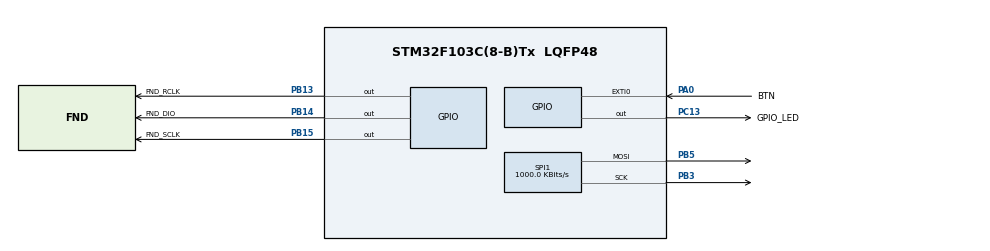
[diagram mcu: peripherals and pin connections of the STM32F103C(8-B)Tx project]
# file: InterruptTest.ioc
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Mcu.Family=STM32F1
Mcu.Name=STM32F103C(8-B)Tx
Mcu.Package=LQFP48
NVIC.EXTI0_IRQn=true\:0\:0\:false\:false\:true\:true\:true\:true
NVIC.PriorityGroup=NVIC_PRIORITYGROUP_4
PA0-WKUP.GPIO_Label=BTN
PA0-WKUP.GPIO_ModeDefaultEXTI=GPIO_MODE_IT_RISING_FALLING
PA0-WKUP.GPIO_PuPd=GPIO_PULLUP
PA0-WKUP.Signal=GPXTI0
PA13.Mode=Serial_Wire
PA13.Signal=SYS_JTMS-SWDIO
PA14.Mode=Serial_Wire
PA14.Signal=SYS_JTCK-SWCLK
PB13.GPIO_Label=FND_RCLK
PB13.GPIO_ModeDefaultOutputPP=GPIO_MODE_OUTPUT_PP
PB13.GPIO_PuPd=GPIO_PULLUP
PB13.GPIO_Speed=GPIO_SPEED_FREQ_HIGH
PB13.PinState=GPIO_PIN_SET
PB13.Signal=GPIO_Output
PB14.GPIO_Label=FND_DIO
PB14.GPIO_ModeDefaultOutputPP=GPIO_MODE_OUTPUT_PP
PB14.GPIO_PuPd=GPIO_NOPULL
PB14.GPIO_Speed=GPIO_SPEED_FREQ_HIGH
PB14.PinState=GPIO_PIN_SET
PB14.Signal=GPIO_Output
PB15.GPIO_Label=FND_SCLK
PB15.GPIO_PuPd=GPIO_PULLUP
PB15.GPIO_Speed=GPIO_SPEED_FREQ_HIGH
PB15.PinState=GPIO_PIN_SET
PB15.Signal=GPIO_Output
PB3.Mode=TX_Only_Simplex_Unidirect_Master
PB3.Signal=SPI1_SCK
PB5.Mode=TX_Only_Simplex_Unidirect_Master
PB5.Signal=SPI1_MOSI
PC13-TAMPER-RTC.GPIO_Label=GPIO_LED
PC13-TAMPER-RTC.GPIO_ModeDefaultOutputPP=GPIO_MODE_OUTPUT_PP
PC13-TAMPER-RTC.GPIO_PuPd=GPIO_PULLDOWN
PC13-TAMPER-RTC.GPIO_Speed=GPIO_SPEED_FREQ_LOW
PC13-TAMPER-RTC.PinState=GPIO_PIN_SET
PC13-TAMPER-RTC.Signal=GPIO_Output
ProjectManager.HeapSize=0x200
ProjectManager.StackSize=0x400
ProjectManager.TargetToolchain=STM32CubeIDE
RCC.APB1Freq_Value=8000000
RCC.APB2Freq_Value=8000000
SPI1.BaudRatePrescaler=SPI_BAUDRATEPRESCALER_8
SPI1.CLKPolarity=SPI_POLARITY_HIGH
SPI1.CalculateBaudRate=1000.0 KBits/s
SPI1.Direction=SPI_DIRECTION_2LINES
SPI1.Mode=SPI_MODE_MASTER
SPI1.VirtualType=VM_MASTER
board=custom

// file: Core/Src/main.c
/* USER CODE BEGIN Header */
/**
  ******************************************************************************
  * @file           : main.c
  * @brief          : Main program body
  ******************************************************************************
  * @attention
  *
  * Copyright (c) 2024 STMicroelectronics.
  * All rights reserved.
  *
  * This software is licensed under terms that can be found in the LICENSE file
  * in the root directory of this software component.
  * If no LICENSE file comes with this software, it is provided AS-IS.
  *
  ******************************************************************************
  */
/* USER CODE END Header */
#include "main.h"

/* USER CODE BEGIN PTD */
#define DEBOUNCE_DELAY 30
/* USER CODE END PTD */

SPI_HandleTypeDef hspi1;

void SystemClock_Config(void);
static void MX_GPIO_Init(void);
static void MX_SPI1_Init(void);

/* USER CODE BEGIN 0 */
void HAL_GPIO_EXTI_Callback(uint16_t GPIO_Pin);

volatile uint32_t lastInterruptTime = 0;
/* USER CODE END 0 */

int main(void)
{

  /* MCU Configuration--------------------------------------------------------*/

  /* Reset of all peripherals, Initializes the Flash interface and the Systick. */
  HAL_Init();

  /* Configure the system clock */
  SystemClock_Config();

  /* Initialize all configured peripherals */
  MX_GPIO_Init();
  MX_SPI1_Init();
  /* USER CODE BEGIN 2 */
  init_fnd(&hspi1);
  /* USER CODE END 2 */

  /* Infinite loop */
  /* USER CODE BEGIN WHILE */
  while (1)
  {
	  for(int i=0; i<=99; i++){
		  digit2(i, 0b0001, 50);
	  }
    /* USER CODE END WHILE */

  }
}

void SystemClock_Config(void)
{
  RCC_OscInitTypeDef RCC_OscInitStruct = {0};
  RCC_ClkInitTypeDef RCC_ClkInitStruct = {0};

  /** Initializes the RCC Oscillators according to the specified parameters
  * in the RCC_OscInitTypeDef structure.
  */
  RCC_OscInitStruct.OscillatorType = RCC_OSCILLATORTYPE_HSI;
  RCC_OscInitStruct.HSIState = RCC_HSI_ON;
  RCC_OscInitStruct.HSICalibrationValue = RCC_HSICALIBRATION_DEFAULT;
  RCC_OscInitStruct.PLL.PLLState = RCC_PLL_NONE;
  if (HAL_RCC_OscConfig(&RCC_OscInitStruct) != HAL_OK)
  {
    Error_Handler();
  }

  /** Initializes the CPU, AHB and APB buses clocks
  */
  RCC_ClkInitStruct.ClockType = RCC_CLOCKTYPE_HCLK|RCC_CLOCKTYPE_SYSCLK
                              |RCC_CLOCKTYPE_PCLK1|RCC_CLOCKTYPE_PCLK2;
  RCC_ClkInitStruct.SYSCLKSource = RCC_SYSCLKSOURCE_HSI;
  RCC_ClkInitStruct.AHBCLKDivider = RCC_SYSCLK_DIV1;
  RCC_ClkInitStruct.APB1CLKDivider = RCC_HCLK_DIV1;
  RCC_ClkInitStruct.APB2CLKDivider = RCC_HCLK_DIV1;

  if (HAL_RCC_ClockConfig(&RCC_ClkInitStruct, FLASH_LATENCY_0) != HAL_OK)
  {
    Error_Handler();
  }
}

static void MX_SPI1_Init(void)
{

  /* SPI1 parameter configuration*/
  hspi1.Instance = SPI1;
  hspi1.Init.Mode = SPI_MODE_MASTER;
  hspi1.Init.Direction = SPI_DIRECTION_2LINES;
  hspi1.Init.DataSize = SPI_DATASIZE_8BIT;
  hspi1.Init.CLKPolarity = SPI_POLARITY_HIGH;
  hspi1.Init.CLKPhase = SPI_PHASE_1EDGE;
  hspi1.Init.NSS = SPI_NSS_SOFT;
  hspi1.Init.BaudRatePrescaler = SPI_BAUDRATEPRESCALER_8;
  hspi1.Init.FirstBit = SPI_FIRSTBIT_MSB;
  hspi1.Init.TIMode = SPI_TIMODE_DISABLE;
  hspi1.Init.CRCCalculation = SPI_CRCCALCULATION_DISABLE;
  hspi1.Init.CRCPolynomial = 10;
  if (HAL_SPI_Init(&hspi1) != HAL_OK)
  {
    Error_Handler();
  }

}

static void MX_GPIO_Init(void)
{
  GPIO_InitTypeDef GPIO_InitStruct = {0};

  /* GPIO Ports Clock Enable */
  __HAL_RCC_GPIOC_CLK_ENABLE();
  __HAL_RCC_GPIOA_CLK_ENABLE();
  __HAL_RCC_GPIOB_CLK_ENABLE();

  /*Configure GPIO pin Output Level */
  HAL_GPIO_WritePin(GPIO_LED_GPIO_Port, GPIO_LED_Pin, GPIO_PIN_SET);

  /*Configure GPIO pin Output Level */
  HAL_GPIO_WritePin(GPIOB, FND_RCLK_Pin|FND_DIO_Pin|FND_SCLK_Pin, GPIO_PIN_SET);

  /*Configure GPIO pin : GPIO_LED_Pin */
  GPIO_InitStruct.Pin = GPIO_LED_Pin;
  GPIO_InitStruct.Mode = GPIO_MODE_OUTPUT_PP;
  GPIO_InitStruct.Pull = GPIO_PULLDOWN;
  GPIO_InitStruct.Speed = GPIO_SPEED_FREQ_LOW;
  HAL_GPIO_Init(GPIO_LED_GPIO_Port, &GPIO_InitStruct);

  /*Configure GPIO pin : BTN_Pin */
  GPIO_InitStruct.Pin = BTN_Pin;
  GPIO_InitStruct.Mode = GPIO_MODE_IT_RISING_FALLING;
  GPIO_InitStruct.Pull = GPIO_PULLUP;
  HAL_GPIO_Init(BTN_GPIO_Port, &GPIO_InitStruct);

  /*Configure GPIO pins : FND_RCLK_Pin FND_SCLK_Pin */
  GPIO_InitStruct.Pin = FND_RCLK_Pin|FND_SCLK_Pin;
  GPIO_InitStruct.Mode = GPIO_MODE_OUTPUT_PP;
  GPIO_InitStruct.Pull = GPIO_PULLUP;
  GPIO_InitStruct.Speed = GPIO_SPEED_FREQ_HIGH;
  HAL_GPIO_Init(GPIOB, &GPIO_InitStruct);

  /*Configure GPIO pin : FND_DIO_Pin */
  GPIO_InitStruct.Pin = FND_DIO_Pin;
  GPIO_InitStruct.Mode = GPIO_MODE_OUTPUT_PP;
  GPIO_InitStruct.Pull = GPIO_NOPULL;
  GPIO_InitStruct.Speed = GPIO_SPEED_FREQ_HIGH;
  HAL_GPIO_Init(FND_DIO_GPIO_Port, &GPIO_InitStruct);

  /* EXTI interrupt init*/
  HAL_NVIC_SetPriority(EXTI0_IRQn, 0, 0);
  HAL_NVIC_EnableIRQ(EXTI0_IRQn);

}

/* USER CODE BEGIN 4 */
void HAL_GPIO_EXTI_Callback(uint16_t GPIO_Pin)
{
	if(GPIO_Pin == BTN_Pin)
	{
		 uint32_t currentTime = HAL_GetTick(); /* check current time */
		 if ((currentTime - lastInterruptTime) > DEBOUNCE_DELAY){ /* check filtering 30ms time */
			 lastInterruptTime = currentTime; /* update interrupt time */
			 if (HAL_GPIO_ReadPin(GPIOA, BTN_Pin) == GPIO_PIN_SET){
				 HAL_GPIO_WritePin(GPIO_LED_GPIO_Port, GPIO_LED_Pin, GPIO_PIN_SET);
			 }else{
				 HAL_GPIO_WritePin(GPIO_LED_GPIO_Port, GPIO_LED_Pin, GPIO_PIN_RESET);
			 }
		 }
	}
}
/* USER CODE END 4 */

void Error_Handler(void)
{
  __disable_irq();
  while (1)
  {
  }
}
